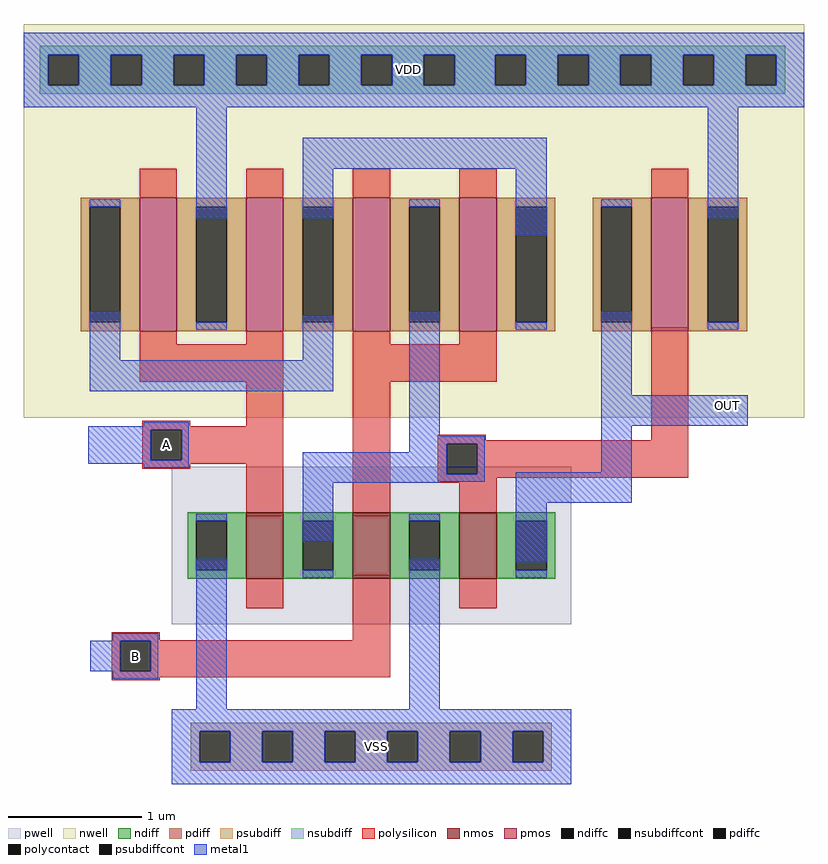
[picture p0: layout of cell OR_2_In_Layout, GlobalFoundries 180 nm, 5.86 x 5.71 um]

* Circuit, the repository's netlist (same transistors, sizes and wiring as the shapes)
* NGSPICE file created from OR_2_In_Layout.ext - technology: gf180mcuC

.subckt pmos_3p3_MEVUAR a_n196_n100# a_n52_n100# w_n282_n230# a_108_n100# a_52_n144#
+ a_n108_n144#
X0 a_n52_n100# a_n108_n144# a_n196_n100# w_n282_n230# pfet_03v3 ad=0.26p pd=1.52u as=0.44p ps=2.88u w=1u l=0.28u
X1 a_108_n100# a_52_n144# a_n52_n100# w_n282_n230# pfet_03v3 ad=0.44p pd=2.88u as=0.26p ps=1.52u w=1u l=0.28u
.ends

.subckt nmos_3p3_GGGST2 a_n28_n94# a_n116_n50# a_28_n50# VSUBS
X0 a_28_n50# a_n28_n94# a_n116_n50# VSUBS nfet_03v3 ad=0.22p pd=1.88u as=0.22p ps=1.88u w=0.5u l=0.28u
.ends

.subckt pmos_3p3_MNVUAR w_n202_n230# a_28_n100# a_n28_n144# a_n116_n100#
X0 a_28_n100# a_n28_n144# a_n116_n100# w_n202_n230# pfet_03v3 ad=0.44p pd=2.88u as=0.44p ps=2.88u w=1u l=0.28u
.ends

.subckt OR_2_In_Layout OUT VDD VSS A B
Xpmos_3p3_MEVUAR_0 m1_99_350# a_622_212# VDD m1_99_350# B B pmos_3p3_MEVUAR
Xpmos_3p3_MEVUAR_1 m1_99_350# VDD VDD m1_99_350# A A pmos_3p3_MEVUAR
Xnmos_3p3_GGGST2_0 a_622_212# VSS OUT VSS nmos_3p3_GGGST2
Xnmos_3p3_GGGST2_1 A VSS a_622_212# VSS nmos_3p3_GGGST2
Xnmos_3p3_GGGST2_2 B a_622_212# VSS VSS nmos_3p3_GGGST2
Xpmos_3p3_MNVUAR_0 VDD VDD a_622_212# OUT pmos_3p3_MNVUAR
.ends

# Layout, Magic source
magic
tech gf180mcuC
magscale 1 10
<< nwell >>
rect 0 770 1172 901
<< psubdiff >>
rect 251 -161 793 -148
rect 251 -207 264 -161
rect 310 -207 358 -161
rect 404 -207 452 -161
rect 498 -207 546 -161
rect 592 -207 640 -161
rect 686 -207 734 -161
rect 780 -207 793 -161
rect 251 -220 793 -207
<< nsubdiff >>
rect 24 855 1143 868
rect 24 809 37 855
rect 83 809 131 855
rect 177 809 225 855
rect 271 809 319 855
rect 365 809 413 855
rect 459 809 507 855
rect 553 809 601 855
rect 647 809 708 855
rect 754 809 802 855
rect 848 809 896 855
rect 942 809 990 855
rect 1036 809 1084 855
rect 1130 809 1143 855
rect 24 796 1143 809
<< psubdiffcont >>
rect 264 -207 310 -161
rect 358 -207 404 -161
rect 452 -207 498 -161
rect 546 -207 592 -161
rect 640 -207 686 -161
rect 734 -207 780 -161
<< nsubdiffcont >>
rect 37 809 83 855
rect 131 809 177 855
rect 225 809 271 855
rect 319 809 365 855
rect 413 809 459 855
rect 507 809 553 855
rect 601 809 647 855
rect 708 809 754 855
rect 802 809 848 855
rect 896 809 942 855
rect 990 809 1036 855
rect 1084 809 1130 855
<< polysilicon >>
rect 174 364 390 420
rect 178 297 250 305
rect 334 297 390 364
rect 178 292 390 297
rect 178 246 191 292
rect 237 246 390 292
rect 178 241 390 246
rect 178 233 250 241
rect 334 162 390 241
rect 494 364 710 420
rect 494 162 550 364
rect 622 276 694 284
rect 942 276 998 446
rect 622 271 998 276
rect 622 225 635 271
rect 681 225 998 271
rect 622 220 998 225
rect 622 212 710 220
rect 654 166 710 212
rect 132 -24 204 -12
rect 494 -24 550 74
rect 132 -25 550 -24
rect 132 -71 145 -25
rect 191 -71 550 -25
rect 132 -80 550 -71
rect 132 -84 204 -80
<< polycontact >>
rect 191 246 237 292
rect 635 225 681 271
rect 145 -71 191 -25
<< metal1 >>
rect 0 855 1172 888
rect 0 809 37 855
rect 83 809 131 855
rect 177 809 225 855
rect 271 809 319 855
rect 365 809 413 855
rect 459 809 507 855
rect 553 809 601 855
rect 647 809 708 855
rect 754 809 802 855
rect 848 809 896 855
rect 942 809 990 855
rect 1036 809 1084 855
rect 1130 809 1172 855
rect 0 776 1172 809
rect 259 609 305 776
rect 419 684 785 730
rect 419 609 465 684
rect 739 584 785 684
rect 1027 609 1073 776
rect 99 396 145 470
rect 419 396 465 464
rect 99 350 465 396
rect 180 297 248 303
rect 97 292 248 297
rect 97 246 191 292
rect 237 246 248 292
rect 579 282 625 470
rect 867 344 913 470
rect 867 298 1087 344
rect 579 271 692 282
rect 579 258 635 271
rect 97 241 248 246
rect 180 235 248 241
rect 419 225 635 258
rect 681 225 692 271
rect 867 228 913 298
rect 419 214 692 225
rect 419 212 625 214
rect 419 124 465 212
rect 739 182 913 228
rect 134 -25 202 -14
rect 100 -71 145 -25
rect 191 -71 202 -25
rect 134 -82 202 -71
rect 259 -128 305 98
rect 579 -128 625 98
rect 739 93 785 182
rect 222 -161 822 -128
rect 222 -207 264 -161
rect 310 -207 358 -161
rect 404 -207 452 -161
rect 498 -207 546 -161
rect 592 -207 640 -161
rect 686 -207 734 -161
rect 780 -207 822 -161
rect 222 -240 822 -207
use nmos_3p3_GGGST2  nmos_3p3_GGGST2_0 ~/GF180Projects/Tapeout/Magic/Logic_Gates/AND_2_Input
transform 1 0 682 0 1 118
box -140 -118 140 118
use nmos_3p3_GGGST2  nmos_3p3_GGGST2_1
transform 1 0 362 0 1 118
box -140 -118 140 118
use nmos_3p3_GGGST2  nmos_3p3_GGGST2_2
transform 1 0 522 0 1 118
box -140 -118 140 118
use pmos_3p3_MEVUAR  pmos_3p3_MEVUAR_0
transform 1 0 602 0 1 540
box -282 -230 282 230
use pmos_3p3_MEVUAR  pmos_3p3_MEVUAR_1
transform 1 0 282 0 1 540
box -282 -230 282 230
use pmos_3p3_MNVUAR  pmos_3p3_MNVUAR_0 ~/GF180Projects/Tapeout/Magic/Logic_Gates/AND_2_Input
transform 1 0 970 0 1 540
box -202 -230 202 230
<< labels >>
flabel metal1 577 832 577 832 0 FreeSans 320 0 0 0 VDD
port 5 nsew
flabel metal1 530 -184 530 -184 0 FreeSans 320 0 0 0 VSS
port 6 nsew
flabel polycontact 214 269 214 269 0 FreeSans 320 0 0 0 A
port 7 nsew
flabel polycontact 168 -48 168 -48 0 FreeSans 320 0 0 0 B
port 8 nsew
flabel metal1 1057 328 1057 328 0 FreeSans 320 0 0 0 OUT
port 9 nsew
<< end >>

# cell nmos_3p3_GGGST2: kit device nmos_3p3, w 0.5 l 0.280 m 1 nf 1 diffcov 100 polycov 100 guard 0 glc 0 grc 0 gtc 0 gbc 0 tbcov 100 rlcov 100 topc 0 botc 0 poverlap 0 doverlap 1 lmin 0.28 wmin 0.22 full_metal 0 compatible {nmos_3p3 nmos_6p0 nmos_6p0_nat}

# cell pmos_3p3_MEVUAR: kit device pmos_3p3, w 1 l 0.280 m 1 nf 2 diffcov 100 polycov 100 guard 0 glc 0 grc 0 gtc 0 gbc 0 tbcov 100 rlcov 100 topc 0 botc 0 poverlap 0 doverlap 1 lmin 0.28 wmin 0.22 full_metal 0 compatible {pmos_3p3 pmos_6p0}

# cell pmos_3p3_MNVUAR: kit device pmos_3p3, w 1 l 0.280 m 1 nf 1 diffcov 100 polycov 100 guard 0 glc 0 grc 0 gtc 0 gbc 0 tbcov 100 rlcov 100 topc 0 botc 0 poverlap 0 doverlap 1 lmin 0.28 wmin 0.22 full_metal 0 compatible {pmos_3p3 pmos_6p0}
